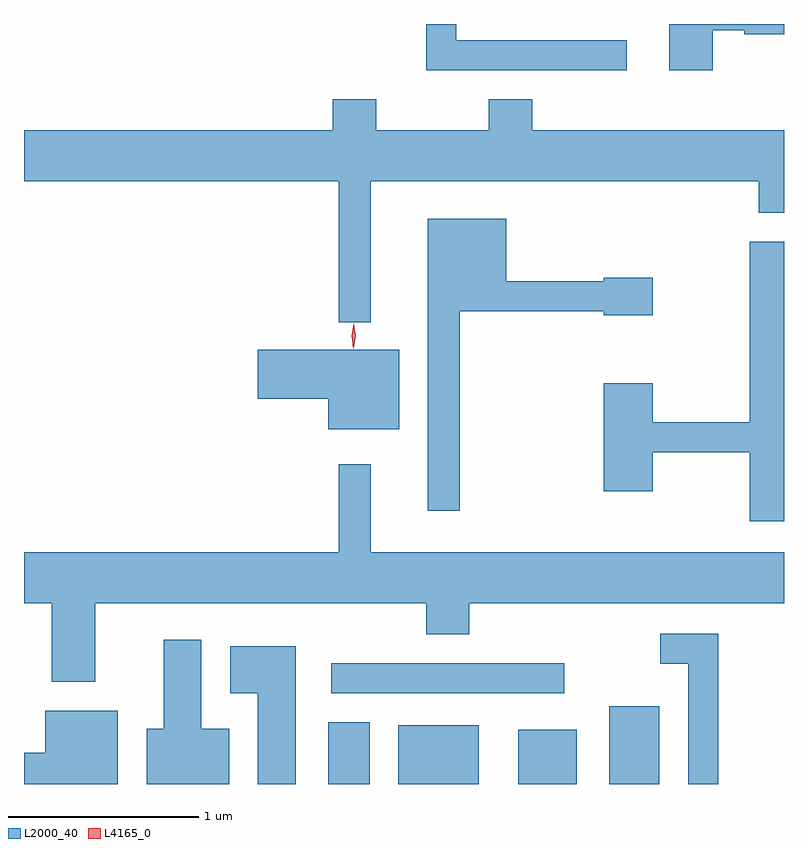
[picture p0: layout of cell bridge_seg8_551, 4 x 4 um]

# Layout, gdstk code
import gdstk
lib = gdstk.Library(unit=1e-6, precision=1e-09)
def R(c, l, rs):  # rectangles x0, y0, x1, y1
    for r in rs: c.add(gdstk.rectangle(r[:2], r[2:], *l))
def P(c, l, *ps):  # polygons
    for p in ps: c.add(gdstk.Polygon(p, *l))
L2000_40 = (2000, 40)
L4165_0 = (4165, 0)

bridge_seg8_551 = lib.new_cell('bridge_seg8_551')
R(bridge_seg8_551, L2000_40, [(449.876,1848.784,450.094,1849.109), (450.246,1848.784,450.669,1849.094), (450.876,1848.784,451.184,1849.069), (451.356,1848.784,451.619,1849.194), (449.893,1849.261,451.118,1849.419)])
P(bridge_seg8_551, L2000_40, [(451.899,1852.751),(452.066,1852.751),(452.066,1852.731),(452.275,1852.731),(452.275,1852.784),(451.671,1852.784),(451.671,1852.541),(451.899,1852.541)],
  [(451.448,1852.699),(450.549,1852.699),(450.549,1852.784),(450.391,1852.784),(450.391,1852.541),(451.448,1852.541)],
  [(450.099,1851.956),(452.141,1851.956),(452.141,1851.791),(452.275,1851.791),(452.275,1852.224),(450.949,1852.224),(450.949,1852.389),(450.721,1852.389),(450.721,1852.224),(450.129,1852.224),(450.129,1852.389),(449.901,1852.389),(449.901,1852.224),(448.275,1852.224),(448.275,1851.956),(449.931,1851.956),(449.931,1851.213),(450.099,1851.213)],
  [(450.569,1851.271),(451.326,1851.271),(451.326,1851.251),(451.584,1851.251),(451.584,1851.449),(451.326,1851.449),(451.326,1851.429),(450.814,1851.429),(450.814,1851.759),(450.401,1851.759),(450.401,1850.223),(450.569,1850.223)],
  [(452.275,1851.639),(452.096,1851.639),(452.096,1850.689),(451.584,1850.689),(451.584,1850.894),(451.326,1850.894),(451.326,1850.326),(451.584,1850.326),(451.584,1850.531),(452.096,1850.531),(452.096,1850.166),(452.275,1850.166)],
  [(450.249,1851.069),(449.506,1851.069),(449.506,1850.811),(449.876,1850.811),(449.876,1850.651),(450.249,1850.651)],
  [(448.649,1849.736),(450.391,1849.736),(450.391,1849.571),(450.619,1849.571),(450.619,1849.736),(452.275,1849.736),(452.275,1850.004),(450.099,1850.004),(450.099,1850.468),(449.931,1850.468),(449.931,1850.004),(448.275,1850.004),(448.275,1849.736),(448.421,1849.736),(448.421,1849.321),(448.649,1849.321)],
  [(451.929,1849.574),(451.623,1849.574),(451.623,1849.416),(451.771,1849.416),(451.771,1848.784),(451.929,1848.784)],
  [(449.354,1849.074),(449.209,1849.074),(449.209,1849.544),(449.011,1849.544),(449.011,1849.074),(448.921,1849.074),(448.921,1848.784),(449.354,1848.784)],
  [(449.704,1849.509),(449.361,1849.509),(449.361,1849.261),(449.506,1849.261),(449.506,1848.784),(449.704,1848.784)],
  [(448.769,1849.169),(448.386,1849.169),(448.386,1848.949),(448.275,1848.949),(448.275,1848.784),(448.769,1848.784)])
P(bridge_seg8_551, L4165_0, [(450.01,1851.08),(450.01,1851.08),(450,1851.144),(450.01,1851.206),(450.01,1851.207),(450.011,1851.206),(450.02,1851.144),(450.011,1851.08)],
  [(450.008,1851.074),(450,1851.142),(450.01,1851.21),(450.01,1851.21),(450.011,1851.21),(450.019,1851.142),(450.009,1851.074),(450.009,1851.074)])

lib.write_gds('bridge_seg8_551.gds')
